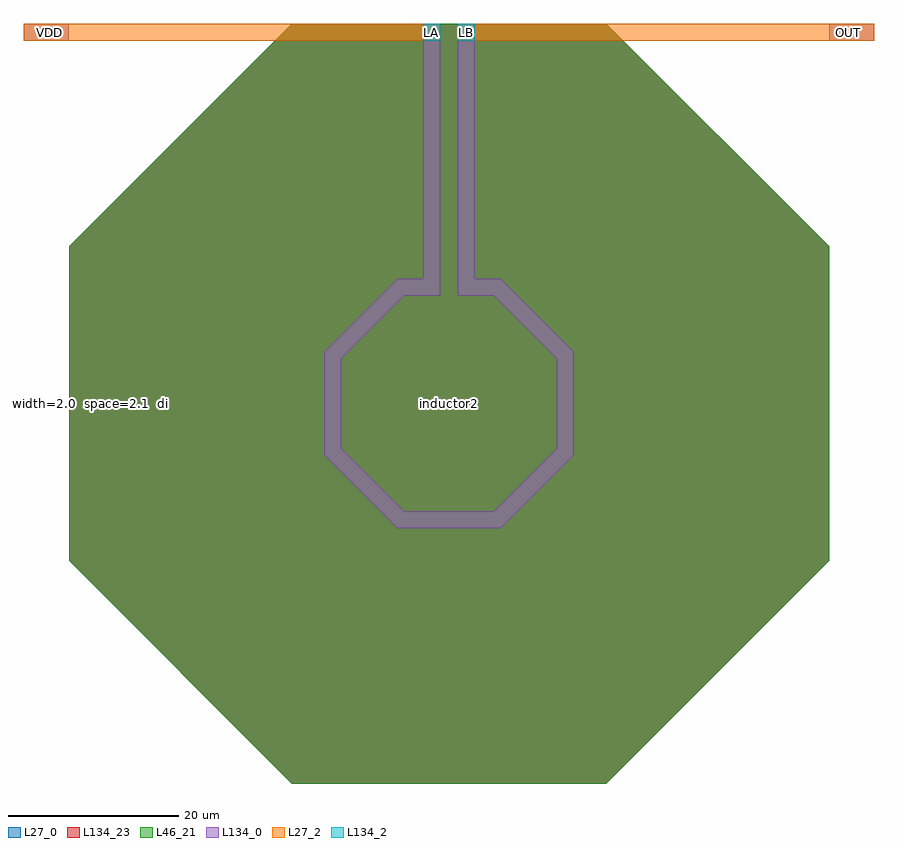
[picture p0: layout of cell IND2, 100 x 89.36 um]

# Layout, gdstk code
import gdstk
lib = gdstk.Library(unit=1e-6, precision=1e-09)
def R(c, l, rs):  # rectangles x0, y0, x1, y1
    for r in rs: c.add(gdstk.rectangle(r[:2], r[2:], *l))
def P(c, l, *ps):  # polygons
    for p in ps: c.add(gdstk.Polygon(p, *l))
L27_0 = (27, 0)
L27_2 = (27, 2)
L46_21 = (46, 21)
L134_0 = (134, 0)
L134_2 = (134, 2)
L134_23 = (134, 23)

ind2 = lib.new_cell('IND2')
P(ind2, L27_0, [(-18.505,0),(-44.68,26.175),(-44.68,63.185),(-18.505,89.36),(18.505,89.36),(44.68,63.185),(44.68,26.175),(18.505,0)])
R(ind2, L27_2, [(-50,87.36,-1.05,89.36), (-3.05,87.36,-1.05,89.36), (1.05,87.36,3.05,89.36), (1.05,87.36,50,89.36)])
P(ind2, L46_21, [(-18.505,0),(-44.68,26.175),(-44.68,63.185),(-18.505,89.36),(18.505,89.36),(44.68,63.185),(44.68,26.175),(18.505,0)])
R(ind2, L134_0, [(-3.34,30.01,3.34,32.01), (-50,87.36,-44.7,89.36), (44.7,87.36,50,89.36)])
P(ind2, L134_0, [(-6.08,30.01),(-14.675,38.605),(-14.675,50.765),(-6.08,59.36),(-1.05,59.36),(-1.05,57.36),(-5.25,57.36),(-12.675,49.935),(-12.675,39.435),(-5.25,32.01),(-3.34,32.01),(-3.34,30.01)],
  [(3.34,30.01),(3.34,32.01),(5.25,32.01),(12.675,39.435),(12.675,49.935),(5.25,57.36),(1.05,57.36),(1.05,59.36),(6.08,59.36),(14.675,50.765),(14.675,38.605),(6.08,30.01)])
R(ind2, L134_2, [(-3.05,87.36,-1.05,89.36), (1.05,87.36,3.05,89.36)])
P(ind2, L134_23, [(-18.505,0),(-44.68,26.175),(-44.68,63.185),(-18.505,89.36),(18.505,89.36),(44.68,63.185),(44.68,26.175),(18.505,0)])
ind2.add(gdstk.FlexPath([(-2.05,89.36),(-2.05,57.36)], 2, ends="flush", simple_path=True, layer=134, datatype=0))  # L134_0
ind2.add(gdstk.FlexPath([(2.05,89.36),(2.05,57.36)], 2, ends="flush", simple_path=True, layer=134, datatype=0))  # L134_0
ind2.add(gdstk.Label('LA', (-2.05,88.36), layer=27, texttype=25))
ind2.add(gdstk.Label('LB', (2.05,88.36), layer=27, texttype=25))
ind2.add(gdstk.Label('  width=2.0\n  space=2.1\n  diameter=25.35\n  turns=1', (-42.68,44.68), layer=63, texttype=0))
ind2.add(gdstk.Label('inductor2', (0,44.645), layer=63, texttype=0))
ind2.add(gdstk.Label('VDD', (-47,88.36), layer=134, texttype=25))
ind2.add(gdstk.Label('OUT', (47,88.36), layer=134, texttype=25))

lib.write_gds('IND2.gds')
